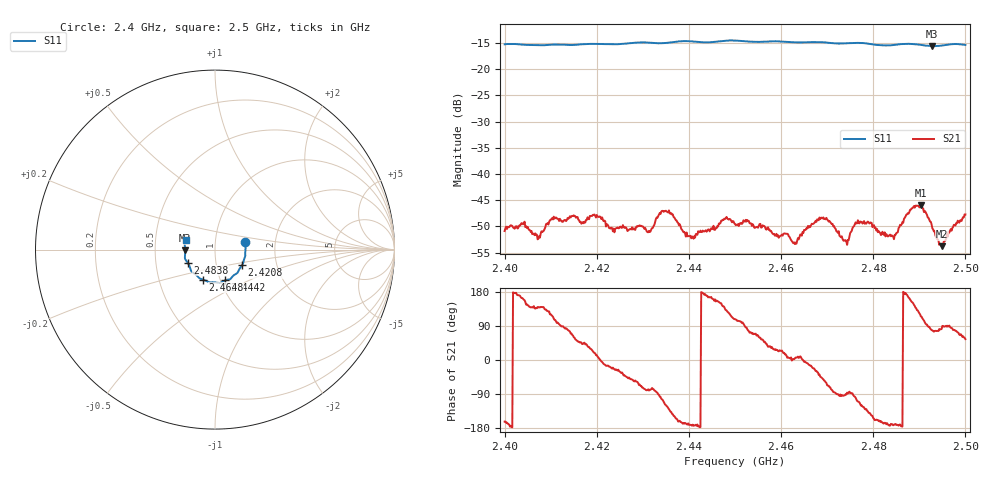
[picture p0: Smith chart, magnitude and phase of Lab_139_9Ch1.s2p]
# Hz S RI R 50
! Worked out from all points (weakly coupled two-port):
!   601 points, 2.4 GHz to 2.5 GHz, reference 50 ohm
!   highest |S21| = -46.00 dB at 2.4903 GHz (marker M1); lowest = -53.8 dB at 2.4948 GHz (marker M2)
!   lowest |S11| = -15.6 dB at 2.4928 GHz (marker M3), VSWR 1.40, Z = 35.8 - j0.354 ohm
!   |S11| at or under -10 dB: start of sweep to end of sweep
!   S12 and S22 are empty: the file has one direction only
!   S11 on the Smith chart (normalised r, x): 2.4 GHz: 1.40, +0.12; 2.4208 GHz: 1.33, -0.24; 2.4442 GHz: 1.05, -0.37; 2.4648 GHz: 0.83, -0.29; 2.4838 GHz: 0.73, -0.11; 2.5 GHz: 0.72, +0.08
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2.4e9  0.1679 0.041  -0.00272 -0.000856  0 0  0 0
2.407333e9  0.1689 -0.0122  -0.00181 0.00159  0 0  0 0
2.416667e9  0.159 -0.0681  0.00233 0.0024  0 0  0 0
2.420833e9  0.1506 -0.0872  0.00387 -7.18e-05  0 0  0 0
2.431167e9  0.1201 -0.1334  0.000606 -0.00271  0 0  0 0
2.433333e9  0.1081 -0.14  -3.1e-05 -0.00396  0 0  0 0
2.436e9  0.0945 -0.1532  -0.00301 -0.0029  0 0  0 0
2.440167e9  0.0812 -0.1662  -0.00251 -0.000402  0 0  0 0
2.444167e9  0.0567 -0.1712  -0.00285 0.000753  0 0  0 0
2.45e9  0.0247 -0.1863  -0.00102 0.00317  0 0  0 0
2.462833e9  -0.0531 -0.1727  0.00222 8.31e-05  0 0  0 0
2.464833e9  -0.0684 -0.1668  0.00274 -6.35e-05  0 0  0 0
2.466667e9  -0.0802 -0.1627  0.00318 -0.00104  0 0  0 0
2.469667e9  -0.092 -0.1547  0.00192 -0.00315  0 0  0 0
2.474e9  -0.1154 -0.1339  -2.25e-05 -0.00233  0 0  0 0
2.477e9  -0.132 -0.1199  -0.00126 -0.00313  0 0  0 0
2.483333e9  -0.1505 -0.0761  -0.00253 -0.000388  0 0  0 0
2.483833e9  -0.1532 -0.0719  -0.00249 -0.000505  0 0  0 0
2.490333e9  -0.1675 -0.0331  -0.00212 0.00454  0 0  0 0
2.492833e9  -0.1658 -0.00482  0.000618 0.00296  0 0  0 0
2.494833e9  -0.1673 0.016  0.000296 0.00202  0 0  0 0
2.5e9  -0.1622 0.0528  0.00235 0.00337  0 0  0 0
